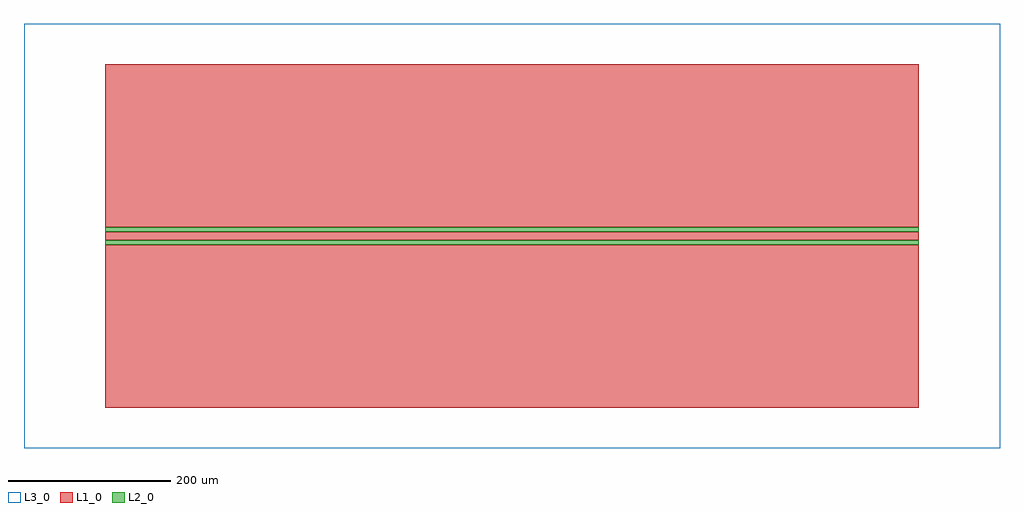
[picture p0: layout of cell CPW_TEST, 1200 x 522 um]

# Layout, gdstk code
import gdstk
lib = gdstk.Library(unit=1e-6, precision=1e-09)
def R(c, l, rs):  # rectangles x0, y0, x1, y1
    for r in rs: c.add(gdstk.rectangle(r[:2], r[2:], *l))
L1_0 = (1, 0)
L2_0 = (2, 0)
L3_0 = (3, 0)

cpw_test = lib.new_cell('CPW_TEST')
R(cpw_test, L1_0, [(0,-211,1000,-11), (0,-5,1000,5), (0,11,1000,211)])
R(cpw_test, L2_0, [(0,-11,1000,-5), (0,5,1000,11)])
R(cpw_test, L3_0, [(-100,-261,1100,261)])

lib.write_gds('CPW_TEST.gds')
